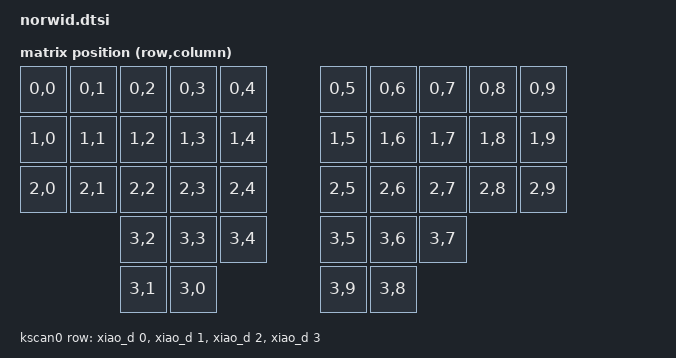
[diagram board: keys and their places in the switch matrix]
#include <dt-bindings/zmk/matrix_transform.h>

/ {
    chosen {
        zephyr,display = &oled;
        zmk,kscan = &kscan0;
        zmk,matrix-transform = &default_transform;
    };

    kscan0: kscan0 {
        compatible = "zmk,kscan-gpio-matrix";
        diode-direction = "col2row";
        wakeup-source;

        row-gpios
            = <&xiao_d 0 (GPIO_ACTIVE_HIGH | GPIO_PULL_DOWN)>
            , <&xiao_d 1 (GPIO_ACTIVE_HIGH | GPIO_PULL_DOWN)>
            , <&xiao_d 2 (GPIO_ACTIVE_HIGH | GPIO_PULL_DOWN)>
            , <&xiao_d 3 (GPIO_ACTIVE_HIGH | GPIO_PULL_DOWN)>
            ;
    };

    default_transform: matrix_transform_0 {
        compatible = "zmk,matrix-transform";
        rows = <4>;
        columns = <10>;
        map = <
        RC(0,0) RC(0,1) RC(0,2) RC(0,3) RC(0,4)         RC(0,5) RC(0,6) RC(0,7) RC(0,8) RC(0,9)
        RC(1,0) RC(1,1) RC(1,2) RC(1,3) RC(1,4)         RC(1,5) RC(1,6) RC(1,7) RC(1,8) RC(1,9)
        RC(2,0) RC(2,1) RC(2,2) RC(2,3) RC(2,4)         RC(2,5) RC(2,6) RC(2,7) RC(2,8) RC(2,9)
                        RC(3,2) RC(3,3) RC(3,4)         RC(3,5) RC(3,6) RC(3,7)                
                            RC(3,1) RC(3,0)                 RC(3,9) RC(3,8)
        >;
    };
};

&xiao_i2c {
    status = "okay";

    oled: ssd1306@3c {
        compatible = "solomon,ssd1306fb";
        reg = <0x3c>;
        width = <128>;
        height = <32>;
        segment-offset = <0>;
        page-offset = <0>;
        display-offset = <0>;
        multiplex-ratio = <31>;
        com-sequential;
        inversion-on;
        prechargep = <0x22>;
    };
};

&oled {
	status = "okay";
};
